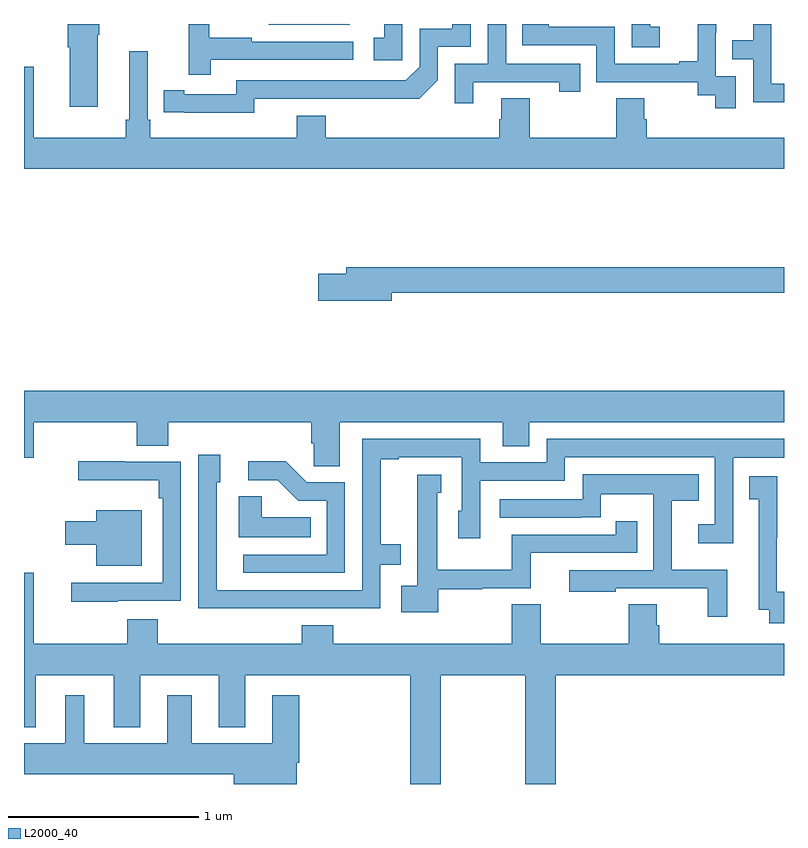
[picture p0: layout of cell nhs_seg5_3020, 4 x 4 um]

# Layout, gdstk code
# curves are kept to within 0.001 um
import gdstk
lib = gdstk.Library(unit=1e-6, precision=1e-09)
def R(c, l, rs):  # rectangles x0, y0, x1, y1
    for r in rs: c.add(gdstk.rectangle(r[:2], r[2:], *l))
def P(c, l, *ps):  # polygons
    for p in ps: c.add(gdstk.Polygon(p, *l))
L2000_40 = (2000, 40)

nhs_seg5_3020 = lib.new_cell('nhs_seg5_3020')
R(nhs_seg5_3020, L2000_40, [(286.287,914.795,286.714,914.799)])
P(nhs_seg5_3020, L2000_40, [(285.983,914.61),(286.732,914.61),(286.732,914.706),(286.199,914.706),(286.199,914.726),(285.976,914.726),(285.976,914.799),(285.866,914.799),(285.866,914.532),(285.983,914.532)],
  [(285.388,914.743),(285.396,914.743),(285.396,914.799),(285.23,914.799),(285.23,914.676),(285.242,914.676),(285.242,914.364),(285.388,914.364)],
  [(288.346,914.785),(288.297,914.785),(288.297,914.799),(288.198,914.799),(288.198,914.676),(288.346,914.676)],
  [(287.365,914.493),(287.816,914.493),(287.816,914.442),(287.927,914.442),(287.927,914.589),(287.538,914.589),(287.538,914.799),(287.442,914.799),(287.442,914.589),(287.268,914.589),(287.268,914.382),(287.365,914.382)],
  [(288.747,914.523),(288.642,914.523),(288.642,914.753),(288.644,914.753),(288.644,914.799),(288.545,914.799),(288.545,914.602),(288.449,914.602),(288.449,914.589),(288.108,914.589),(288.108,914.784),(287.763,914.784),(287.763,914.799),(287.623,914.799),(287.623,914.688),(288.012,914.688),(288.012,914.493),(288.546,914.493),(288.546,914.425),(288.639,914.425),(288.639,914.355),(288.747,914.355)],
  [(286.212,914.406),(287.08,914.405),(287.178,914.502),(287.178,914.679),(287.352,914.679),(287.352,914.799),(287.255,914.799),(287.255,914.775),(287.082,914.775),(287.082,914.574),(287.01,914.502),(286.116,914.502),(286.116,914.43),(285.844,914.43),(285.844,914.45),(285.736,914.45),(285.736,914.334),(286.212,914.333)],
  [(289,914.484),(288.933,914.484),(288.933,914.799),(288.837,914.799),(288.837,914.714),(288.727,914.714),(288.727,914.613),(288.837,914.613),(288.837,914.388),(289,914.388)],
  [(286.992,914.799),(286.895,914.799),(286.895,914.727),(286.842,914.727),(286.842,914.607),(286.992,914.607)],
  [(289,914.2),(288.278,914.2),(288.278,914.298),(288.265,914.298),(288.265,914.408),(288.118,914.408),(288.118,914.2),(287.661,914.2),(287.661,914.408),(287.513,914.408),(287.513,914.298),(287.501,914.298),(287.501,914.2),(286.589,914.2),(286.589,914.317),(286.436,914.317),(286.436,914.2),(285.665,914.2),(285.665,914.296),(285.651,914.296),(285.651,914.656),(285.554,914.656),(285.554,914.296),(285.535,914.296),(285.535,914.2),(285.052,914.2),(285.052,914.575),(285,914.575),(285,914.036),(289,914.036)],
  [(286.936,913.384),(289,913.384),(289,913.52),(286.697,913.52),(286.697,913.484),(286.548,913.484),(286.548,913.342),(286.936,913.342)],
  [(286.663,912.704),(287.519,912.704),(287.519,912.577),(287.659,912.577),(287.659,912.704),(289,912.704),(289,912.868),(285,912.868),(285,912.516),(285.052,912.516),(285.052,912.704),(285.593,912.704),(285.593,912.58),(285.758,912.58),(285.758,912.704),(286.511,912.704),(286.511,912.592),(286.525,912.592),(286.525,912.472),(286.663,912.472)],
  [(286.379,911.724),(286.875,911.724),(286.875,911.952),(286.984,911.952),(286.984,912.061),(286.877,912.061),(286.877,912.507),(286.972,912.507),(286.972,912.519),(287.304,912.519),(287.304,912.237),(287.285,912.237),(287.285,912.093),(287.4,912.093),(287.4,912.396),(287.847,912.396),(287.847,912.519),(288.636,912.519),(288.636,912.166),(288.549,912.166),(288.549,912.065),(288.732,912.065),(288.732,912.515),(289,912.515),(289,912.616),(288.739,912.616),(288.739,912.615),(287.751,912.615),(287.751,912.492),(287.4,912.492),(287.4,912.615),(286.779,912.615),(286.779,911.82),(286.014,911.82),(286.014,912.387),(286.033,912.387),(286.033,912.532),(285.918,912.532),(285.918,911.723),(286.379,911.723)],
  [(285.493,911.763),(285.825,911.763),(285.825,912.495),(285.529,912.495),(285.529,912.499),(285.285,912.499),(285.285,912.398),(285.709,912.398),(285.709,912.302),(285.729,912.302),(285.729,911.859),(285.249,911.859),(285.249,911.759),(285.493,911.759)],
  [(286.689,912.387),(286.488,912.387),(286.378,912.497),(286.179,912.497),(286.179,912.399),(286.335,912.399),(286.443,912.291),(286.593,912.291),(286.593,912.006),(286.155,912.006),(286.155,911.91),(286.689,911.91)],
  [(288.7,911.926),(288.409,911.926),(288.409,912.29),(288.551,912.29),(288.551,912.43),(287.94,912.43),(287.94,912.297),(287.505,912.297),(287.505,912.201),(287.933,912.201),(287.933,912.202),(288.036,912.202),(288.036,912.323),(288.312,912.323),(288.312,911.925),(287.871,911.925),(287.871,911.81),(288.115,911.81),(288.115,911.829),(288.598,911.829),(288.598,911.679),(288.7,911.679)],
  [(287.179,911.824),(287.412,911.824),(287.412,911.829),(287.666,911.829),(287.666,912.015),(288.227,912.015),(288.227,912.181),(288.114,912.181),(288.114,912.111),(287.567,912.111),(287.567,911.926),(287.176,911.926),(287.176,912.333),(287.197,912.333),(287.197,912.426),(287.069,912.426),(287.069,911.938),(287.07,911.938),(287.07,911.842),(286.986,911.842),(286.986,911.702),(287.179,911.702)],
  [(289,911.811),(288.963,911.811),(288.963,912.094),(288.964,912.094),(288.964,912.418),(288.817,912.418),(288.817,912.297),(288.866,912.297),(288.866,911.715),(288.923,911.715),(288.923,911.645),(289,911.645)],
  [(286.508,912.202),(286.252,912.202),(286.252,912.314),(286.13,912.314),(286.13,912.098),(286.508,912.098)],
  [(285.619,912.241),(285.38,912.241),(285.38,912.181),(285.216,912.181),(285.216,912.059),(285.38,912.059),(285.38,911.948),(285.619,911.948)],
  [(287.721,911.744),(287.566,911.744),(287.566,911.536),(286.628,911.536),(286.628,911.635),(286.463,911.635),(286.463,911.536),(285.704,911.536),(285.704,911.665),(285.544,911.665),(285.544,911.536),(285.052,911.536),(285.052,911.911),(285,911.911),(285,911.099),(285.061,911.099),(285.061,911.372),(285.473,911.372),(285.473,911.099),(285.613,911.099),(285.613,911.372),(286.025,911.372),(286.025,911.099),(286.165,911.099),(286.165,911.372),(287.033,911.372),(287.033,910.799),(287.193,910.799),(287.193,911.372),(287.638,911.372),(287.638,910.799),(287.798,910.799),(287.798,911.372),(289,911.372),(289,911.536),(288.344,911.536),(288.344,911.634),(288.331,911.634),(288.331,911.744),(288.184,911.744),(288.184,911.536),(287.721,911.536)],
  [(286.435,910.91),(286.448,910.91),(286.448,911.266),(286.307,911.266),(286.307,911.014),(285.883,911.014),(285.883,911.266),(285.755,911.266),(285.755,911.014),(285.316,911.014),(285.316,911.266),(285.218,911.266),(285.218,911.014),(285,911.014),(285,910.85),(286.103,910.85),(286.103,910.799),(286.435,910.799)])

lib.write_gds('nhs_seg5_3020.gds')
